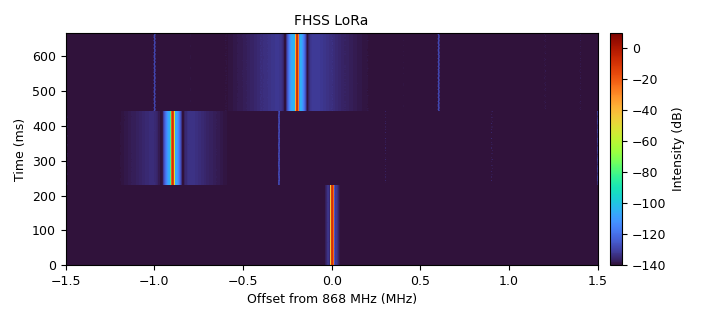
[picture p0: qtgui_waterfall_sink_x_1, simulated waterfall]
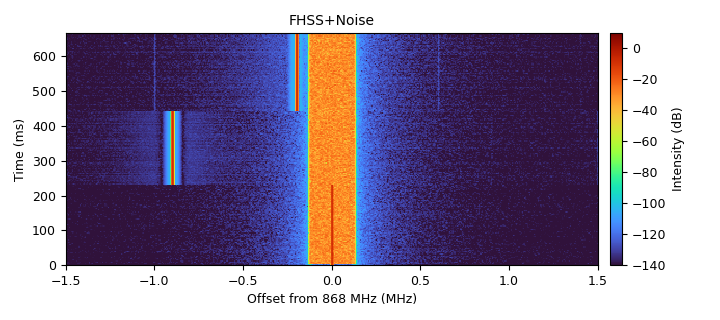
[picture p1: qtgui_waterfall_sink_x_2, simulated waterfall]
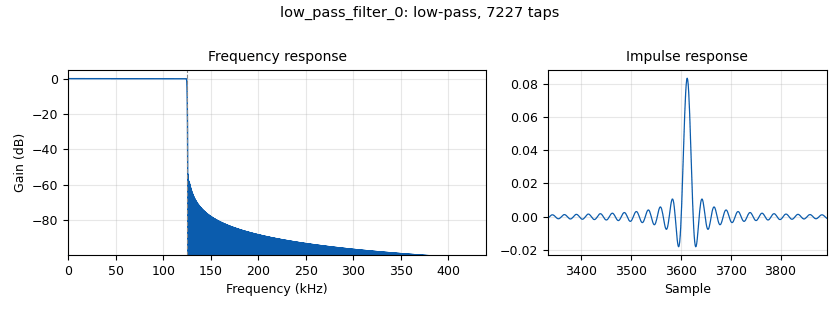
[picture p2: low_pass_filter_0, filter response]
options:
  parameters:
    generate_options: qt_gui
    id: my_fhss
    output_language: python
    title: Not titled yet
  states: {}

blocks:
- name: freq
  id: variable_qtgui_range
  parameters:
    label: freq
    start: 863e6
    step: 100e3
    stop: 870e6
    value: 868e6
  states: {}
- name: samp_rate
  id: variable
  parameters:
    value: '3000000'
  states: {}
- name: analog_noise_source_x_0
  id: analog_noise_source_x
  parameters:
    amp: '2'
    noise_type: analog.GR_GAUSSIAN
    seed: '0'
    type: complex
  states: {}
- name: analog_sig_source_x_0
  id: analog_sig_source_x
  parameters:
    amp: '1'
    freq: '1'
    offset: '0'
    phase: '0'
    samp_rate: samp_rate
    showports: 'True'
    type: complex
    waveform: analog.GR_COS_WAVE
  states: {}
- name: blocks_add_xx_0
  id: blocks_add_xx
  parameters:
    type: complex
  states: {}
- name: blocks_add_xx_1
  id: blocks_add_xx
  parameters:
    type: complex
  states: {state: disabled}
- name: blocks_message_strobe_0
  id: blocks_message_strobe
  parameters:
    msg: pmt.intern("tick")
    period: '1000'
  states: {}
- name: blocks_multiply_const_vxx_0
  id: blocks_multiply_const_vxx
  parameters:
    const: 2 * 3.14
    type: float
  states: {state: disabled}
- name: blocks_multiply_xx_1
  id: blocks_multiply_xx
  parameters:
    type: float
  states: {state: disabled}
- name: blocks_null_sink_0
  id: blocks_null_sink
  parameters:
    type: complex
  states: {}
- name: blocks_throttle2_0
  id: blocks_throttle2
  parameters:
    samples_per_second: '10'
    type: float
  states: {state: disabled}
- name: blocks_throttle_0
  id: blocks_throttle
  parameters:
    samples_per_second: samp_rate
    type: complex
  states: {}
- name: blocks_vco_f_0
  id: blocks_vco_f
  parameters:
    amplitude: '1'
    samp_rate: samp_rate
    sensitivity: '1'
  states: {state: disabled}
- name: blocks_vector_source_x_0
  id: blocks_vector_source_x
  parameters:
    repeat: 'True'
    type: float
    vector: '[867.3e6, 867.7e6, 868.1e6, 868.5e6]'
  states: {state: disabled}
- name: epy_block_0
  id: epy_block
  parameters:
    _source_code: |
      """
      Embedded Python Blocks:

      Each time this file is saved, GRC will instantiate the first class it finds
      to get ports and parameters of your block. The arguments to __init__  will
      be the parameters. All of them are required to have default values!
      """

      import numpy as np
      from gnuradio import gr
      import numpy as np
      import time

      import random

      import pmt

      class blk(gr.basic_block):
          def __init__(self, freq=868000000):
              gr.basic_block.__init__(self,
                  name='Freq Scheduler',
                  in_sig=None,
                  out_sig=None)
              self.base_freq = freq
              freq_start = 867000000 -freq
              freq_end = 869000000 -freq
              step = 100000
              frequencies = [round(freq_start + i * step, 3) for i in range(int((freq_end - freq_start) / step))]
              print(frequencies)
              seed = 123
              random.seed(123)  # симетричний ключ

              hop_sequence = []
              for _ in range(10):
                 hop_sequence += random.sample(frequencies, len(frequencies))

              self.freqs = hop_sequence
              self.index = 0

              self.message_port_register_out(pmt.intern("msg"))
              self.message_port_register_in(pmt.intern("tick"))

              self.set_msg_handler(pmt.intern("tick"), self.handle_tick)

          def handle_tick(self, msg):
              print("cur freq", self.base_freq)
              freq = self.freqs[self.index]
              self.index = (self.index + 1) % len(self.freqs)

              # Надсилаємо PMT-пару у порт 'cmd'
              self.message_port_pub(
                 pmt.intern("msg"),
                 pmt.cons(pmt.intern("freq"), pmt.from_float(freq))
              )
    freq: '868000000'
  states: {}
- name: low_pass_filter_0
  id: low_pass_filter
  parameters:
    cutoff_freq: 125e3
    decim: '1'
    gain: '1'
    samp_rate: samp_rate
    type: fir_filter_ccf
    width: '1000'
    win: window.WIN_HAMMING
  states: {}
- name: modulator
  id: analog_frequency_modulator_fc
  parameters:
    sensitivity: 2 * 3.1416 * 125000 / samp_rate
  states: {}
- name: modulator_0
  id: analog_frequency_modulator_fc
  parameters:
    sensitivity: 2 * 3.1416 * 125000 / samp_rate
  states: {state: disabled}
- name: qtgui_freq_sink_x_0
  id: qtgui_freq_sink_x
  parameters:
    bw: samp_rate
    fc: '0'
    fftsize: '1024'
    type: complex
  states: {state: disabled}
- name: qtgui_freq_sink_x_0_0
  id: qtgui_freq_sink_x
  parameters:
    bw: samp_rate
    fc: '0'
    fftsize: '1024'
    type: complex
  states: {state: disabled}
- name: qtgui_freq_sink_x_0_0_0
  id: qtgui_freq_sink_x
  parameters:
    bw: samp_rate
    fc: '0'
    fftsize: '1024'
    name: '"CSS LoRa Freq"'
    type: complex
  states: {state: disabled}
- name: qtgui_freq_sink_x_1
  id: qtgui_freq_sink_x
  parameters:
    bw: samp_rate
    fc: '0'
    fftsize: '1024'
    name: '"CSS+Noise Freq"'
    type: complex
  states: {state: disabled}
- name: qtgui_waterfall_sink_x_0
  id: qtgui_waterfall_sink_x
  parameters:
    bw: samp_rate
    fc: 868e6
    fftsize: '1024'
    name: '"CSS LoRa"'
    type: complex
  states: {state: disabled}
- name: qtgui_waterfall_sink_x_1
  id: qtgui_waterfall_sink_x
  parameters:
    bw: samp_rate
    fc: 868e6
    fftsize: '1024'
    name: '"FHSS LoRa"'
    type: complex
  states: {}
- name: qtgui_waterfall_sink_x_2
  id: qtgui_waterfall_sink_x
  parameters:
    bw: samp_rate
    fc: 868e6
    fftsize: '1024'
    name: '"FHSS+Noise"'
    type: complex
  states: {}
- name: qtgui_waterfall_sink_x_2_0
  id: qtgui_waterfall_sink_x
  parameters:
    bw: samp_rate
    fc: 868e6
    fftsize: '1024'
    name: '"CSS+Noise"'
    type: complex
  states: {state: disabled}
- name: sawtooth
  id: analog_sig_source_x
  parameters:
    amp: '1'
    freq: '1'
    offset: '0.0'
    phase: '0.0'
    samp_rate: samp_rate
    type: float
    waveform: analog.GR_SAW_WAVE
  states: {}
- name: throttle
  id: blocks_throttle
  parameters:
    samples_per_second: samp_rate
    type: complex
  states: {}
- name: virtual_sink_0
  id: virtual_sink
  parameters:
    stream_id: CSS
  states: {}
- name: virtual_sink_1
  id: virtual_sink
  parameters:
    stream_id: FHSS
  states: {}
- name: virtual_sink_2
  id: virtual_sink
  parameters:
    stream_id: my_noise
  states: {}
- name: virtual_source_0
  id: virtual_source
  parameters:
    stream_id: CSS
  states: {state: disabled}
- name: virtual_source_1
  id: virtual_source
  parameters:
    stream_id: FHSS
  states: {}
- name: virtual_source_2
  id: virtual_source
  parameters:
    stream_id: my_noise
  states: {}

connections:
- [analog_noise_source_x_0, '0', blocks_throttle_0, '0']
- [analog_sig_source_x_0, '0', virtual_sink_1, '0']
- [blocks_add_xx_0, '0', qtgui_freq_sink_x_0_0, '0']
- [blocks_add_xx_0, '0', qtgui_waterfall_sink_x_2, '0']
- [blocks_add_xx_1, '0', qtgui_freq_sink_x_1, '0']
- [blocks_add_xx_1, '0', qtgui_waterfall_sink_x_2_0, '0']
- [blocks_message_strobe_0, strobe, epy_block_0, tick]
- [blocks_multiply_const_vxx_0, '0', blocks_vco_f_0, '0']
- [blocks_multiply_xx_1, '0', modulator_0, '0']
- [blocks_throttle2_0, '0', blocks_multiply_const_vxx_0, '0']
- [blocks_throttle_0, '0', low_pass_filter_0, '0']
- [blocks_vco_f_0, '0', blocks_multiply_xx_1, '0']
- [blocks_vector_source_x_0, '0', blocks_throttle2_0, '0']
- [epy_block_0, msg, analog_sig_source_x_0, cmd]
- [low_pass_filter_0, '0', virtual_sink_2, '0']
- [modulator, '0', throttle, '0']
- [sawtooth, '0', modulator, '0']
- [throttle, '0', virtual_sink_0, '0']
- [virtual_source_0, '0', blocks_add_xx_1, '0']
- [virtual_source_0, '0', qtgui_freq_sink_x_0_0_0, '0']
- [virtual_source_0, '0', qtgui_waterfall_sink_x_0, '0']
- [virtual_source_1, '0', blocks_add_xx_0, '0']
- [virtual_source_1, '0', blocks_null_sink_0, '0']
- [virtual_source_1, '0', qtgui_freq_sink_x_0, '0']
- [virtual_source_1, '0', qtgui_waterfall_sink_x_1, '0']
- [virtual_source_2, '0', blocks_add_xx_0, '1']
- [virtual_source_2, '0', blocks_add_xx_1, '1']

metadata:
  file_format: 1
  grc_version: 3.10.12.0
